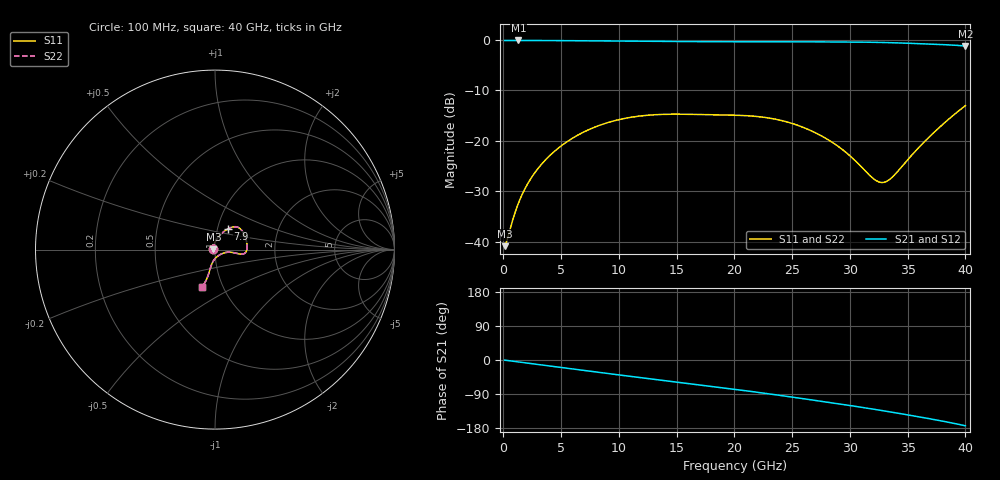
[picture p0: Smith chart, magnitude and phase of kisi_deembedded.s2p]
! A_s4_d200_ap1000: kisi-fdtd, de-embedded with the 2×thru
# Hz S RI R 50
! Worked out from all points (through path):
!   400 points, 100 MHz to 40 GHz, reference 50 ohm
!   highest |S21| = -0.10 dB at 1.3 GHz (marker M1); lowest = -1.2 dB at 40 GHz (marker M2)
!   group delay of S21, straight-line fit = 11.6 ps
!   lowest |S11| = -40.9 dB at 100 MHz (marker M3), VSWR 1.02, Z = 49.1 + j0.178 ohm
!   |S11| at or under -10 dB: start of sweep to end of sweep
!   |S22| runs from -40.9 to -13.0 dB; largest |S21 - S12| = 2.2e-07
!   S11 on the Smith chart (normalised r, x): 100 MHz: 0.98, +0.00; 7.9 GHz: 1.12, +0.27; 40 GHz: 0.79, -0.35
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1e8  -0.00886 0.00181  0.9889 -0.00671  0.9889 -0.00671  -0.00886 0.00181
3e8  -0.00872 0.00543  0.9887 -0.0201  0.9887 -0.0201  -0.00872 0.00543
9e8  -0.00745 0.0163  0.9871 -0.0604  0.9871 -0.0604  -0.00745 0.0163
1.3e9  -0.0059 0.0234  0.9851 -0.0873  0.9851 -0.0873  -0.0059 0.0234
2.3e9  0.000307 0.0411  0.9766 -0.1546  0.9766 -0.1546  0.000307 0.0411
3.5e9  0.0117 0.0612  0.9593 -0.235  0.9593 -0.235  0.0117 0.0612
5e9  0.0307 0.0838  0.9267 -0.3326  0.9267 -0.3326  0.0307 0.0838
6.8e9  0.0567 0.1057  0.8738 -0.4428  0.8738 -0.4428  0.0567 0.1057
7.9e9  0.0729 0.1157  0.8355 -0.5059  0.8355 -0.5059  0.0729 0.1157
1.05e10  0.1079 0.1275  0.7302 -0.6412  0.7302 -0.6412  0.1079 0.1275
1.34e10  0.1399 0.1168  0.5909 -0.7665  0.5909 -0.7665  0.1399 0.1168
1.67e10  0.1676 0.0731  0.4102 -0.8712  0.4102 -0.8712  0.1676 0.0731
2.01e10  0.179 0.0139  0.2046 -0.9376  0.2046 -0.9376  0.179 0.0139
2.37e10  0.161 -0.0232  -0.0389 -0.9599  -0.0389 -0.9599  0.161 -0.0232
2.67e10  0.1232 -0.0216  -0.2542 -0.9244  -0.2542 -0.9244  0.1232 -0.0216
2.93e10  0.0816 -0.0144  -0.4325 -0.8517  -0.4325 -0.8517  0.0816 -0.0144
3.23e10  0.0296 -0.0273  -0.6217 -0.7148  -0.6217 -0.7148  0.0296 -0.0273
3.28e10  0.0212 -0.0324  -0.6502 -0.6854  -0.6502 -0.6854  0.0212 -0.0324
3.34e10  0.0116 -0.0395  -0.6826 -0.6476  -0.6826 -0.6476  0.0116 -0.0395
3.7e10  -0.0277 -0.1096  -0.8279 -0.3768  -0.8279 -0.3768  -0.0277 -0.1096
3.86e10  -0.0444 -0.1598  -0.8619 -0.2349  -0.8619 -0.2349  -0.0444 -0.1598
4e10  -0.0744 -0.2107  -0.8659 -0.0976  -0.8659 -0.0976  -0.0744 -0.2107
